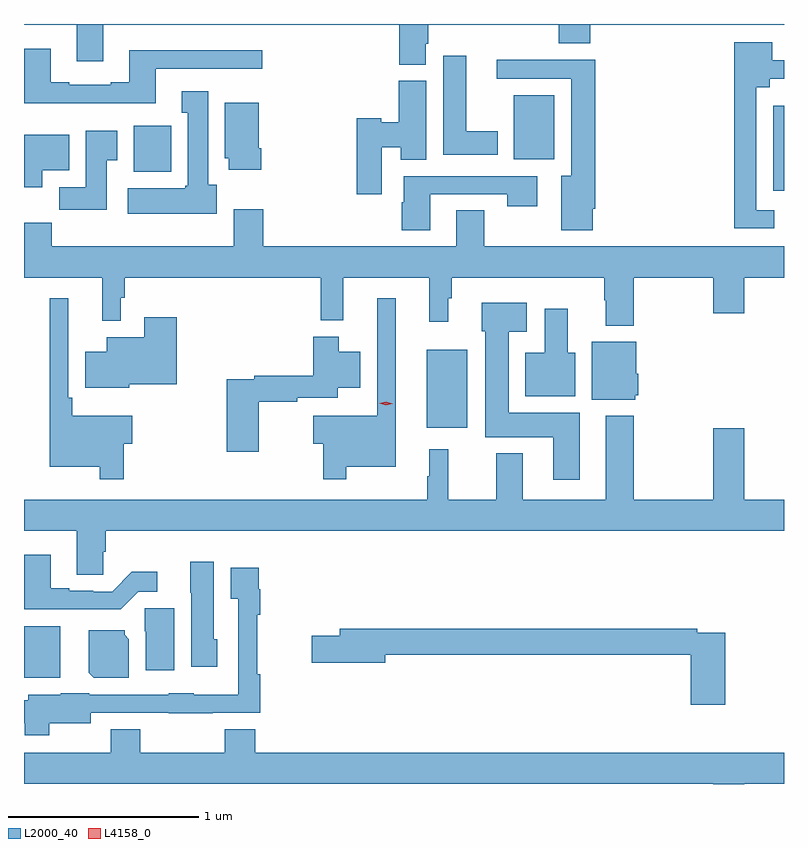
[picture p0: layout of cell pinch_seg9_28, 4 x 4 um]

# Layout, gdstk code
import gdstk
lib = gdstk.Library(unit=1e-6, precision=1e-09)
def R(c, l, rs):  # rectangles x0, y0, x1, y1
    for r in rs: c.add(gdstk.rectangle(r[:2], r[2:], *l))
def P(c, l, *ps):  # polygons
    for p in ps: c.add(gdstk.Polygon(p, *l))
L2000_40 = (2000, 40)
L4158_0 = (4158, 0)

pinch_seg9_28 = lib.new_cell('pinch_seg9_28')
R(pinch_seg9_28, L2000_40, [(928.612,1243.598,928.804,1243.87), (930.731,1244.915,930.946,1245.325), (932.555,1246.161,932.612,1246.609), (929.189,1246.262,929.386,1246.504), (931.19,1246.328,931.402,1246.663)])
P(pinch_seg9_28, L2000_40, [(930.727,1246.935),(930.74,1246.935),(930.74,1247.036),(931.427,1247.036),(931.427,1246.937),(931.592,1246.937),(931.592,1247.036),(932.612,1247.036),(932.612,1247.039),(928.612,1247.039),(928.612,1247.036),(928.889,1247.036),(928.889,1246.842),(929.029,1246.842),(929.029,1247.036),(930.587,1247.036),(930.587,1246.825),(930.727,1246.825)],
  [(932.56,1246.059),(932.466,1246.059),(932.466,1246.706),(932.536,1246.706),(932.536,1246.752),(932.612,1246.752),(932.612,1246.848),(932.551,1246.848),(932.551,1246.942),(932.35,1246.942),(932.35,1245.963),(932.56,1245.963)],
  [(929.305,1246.803),(929.866,1246.803),(929.866,1246.9),(929.165,1246.9),(929.165,1246.732),(929.069,1246.732),(929.069,1246.719),(928.849,1246.719),(928.849,1246.732),(928.753,1246.732),(928.753,1246.909),(928.612,1246.909),(928.612,1246.622),(929.305,1246.622)],
  [(931.105,1246.474),(930.94,1246.474),(930.94,1246.873),(930.818,1246.873),(930.818,1246.352),(931.105,1246.352)],
  [(931.606,1246.066),(931.619,1246.066),(931.619,1246.85),(931.101,1246.85),(931.101,1246.752),(931.493,1246.752),(931.493,1246.24),(931.439,1246.24),(931.439,1245.954),(931.606,1245.954)],
  [(930.496,1246.391),(930.596,1246.391),(930.596,1246.324),(930.73,1246.324),(930.73,1246.74),(930.584,1246.74),(930.584,1246.521),(930.492,1246.521),(930.492,1246.544),(930.362,1246.544),(930.362,1246.143),(930.496,1246.143)],
  [(929.626,1246.194),(929.581,1246.194),(929.581,1246.684),(929.441,1246.684),(929.441,1246.571),(929.474,1246.571),(929.474,1246.188),(929.461,1246.188),(929.461,1246.174),(929.157,1246.174),(929.157,1246.04),(929.626,1246.04)],
  [(929.861,1246.384),(929.848,1246.384),(929.848,1246.624),(929.669,1246.624),(929.669,1246.332),(929.69,1246.332),(929.69,1246.272),(929.861,1246.272)],
  [(929.047,1246.321),(929.104,1246.321),(929.104,1246.477),(928.937,1246.477),(928.937,1246.18),(928.798,1246.18),(928.798,1246.062),(929.047,1246.062)],
  [(928.708,1246.268),(928.849,1246.268),(928.849,1246.456),(928.612,1246.456),(928.612,1246.181),(928.708,1246.181)],
  [(930.751,1246.143),(931.156,1246.143),(931.156,1246.08),(931.312,1246.08),(931.312,1246.239),(930.611,1246.239),(930.611,1246.101),(930.599,1246.101),(930.599,1245.954),(930.751,1245.954)],
  [(931.821,1245.704),(932.24,1245.704),(932.24,1245.516),(932.404,1245.516),(932.404,1245.704),(932.612,1245.704),(932.612,1245.868),(931.035,1245.868),(931.035,1246.058),(930.887,1246.058),(930.887,1245.868),(929.87,1245.868),(929.87,1246.063),(929.717,1246.063),(929.717,1245.868),(928.757,1245.868),(928.757,1245.992),(928.612,1245.992),(928.612,1245.704),(929.024,1245.704),(929.024,1245.476),(929.121,1245.476),(929.121,1245.597),(929.141,1245.597),(929.141,1245.704),(930.175,1245.704),(930.175,1245.479),(930.293,1245.479),(930.293,1245.704),(930.746,1245.704),(930.746,1245.471),(930.844,1245.471),(930.844,1245.596),(930.863,1245.596),(930.863,1245.704),(931.666,1245.704),(931.666,1245.584),(931.673,1245.584),(931.673,1245.452),(931.821,1245.452)],
  [(929.138,1244.83),(929.182,1244.83),(929.182,1244.977),(928.865,1244.977),(928.865,1245.073),(928.845,1245.073),(928.845,1245.595),(928.748,1245.595),(928.748,1244.708),(929.01,1244.708),(929.01,1244.643),(929.138,1244.643)],
  [(930.307,1244.708),(930.568,1244.708),(930.568,1245.595),(930.471,1245.595),(930.471,1244.977),(930.134,1244.977),(930.134,1244.83),(930.186,1244.83),(930.186,1244.643),(930.307,1244.643)],
  [(931.537,1244.992),(931.162,1244.992),(931.162,1245.419),(931.258,1245.419),(931.258,1245.571),(931.022,1245.571),(931.022,1245.423),(931.04,1245.423),(931.04,1244.864),(931.397,1244.864),(931.397,1244.64),(931.537,1244.64)],
  [(931.513,1245.31),(931.474,1245.31),(931.474,1245.541),(931.352,1245.541),(931.352,1245.31),(931.25,1245.31),(931.25,1245.08),(931.513,1245.08)],
  [(929.166,1245.143),(929.417,1245.143),(929.417,1245.496),(929.246,1245.496),(929.246,1245.391),(929.048,1245.391),(929.048,1245.313),(928.934,1245.313),(928.934,1245.125),(929.166,1245.125)],
  [(929.848,1245.052),(930.05,1245.052),(930.05,1245.072),(930.262,1245.072),(930.262,1245.125),(930.382,1245.125),(930.382,1245.313),(930.268,1245.313),(930.268,1245.394),(930.134,1245.394),(930.134,1245.188),(929.824,1245.188),(929.824,1245.168),(929.678,1245.168),(929.678,1244.787),(929.848,1244.787)],
  [(931.83,1245.084),(931.846,1245.084),(931.846,1245.198),(931.834,1245.198),(931.834,1245.367),(931.601,1245.367),(931.601,1245.062),(931.83,1245.062)],
  [(932.612,1244.536),(932.404,1244.536),(932.404,1244.911),(932.24,1244.911),(932.24,1244.536),(931.821,1244.536),(931.821,1244.977),(931.673,1244.977),(931.673,1244.536),(931.237,1244.536),(931.237,1244.779),(931.097,1244.779),(931.097,1244.536),(930.846,1244.536),(930.846,1244.8),(930.746,1244.8),(930.746,1244.66),(930.735,1244.66),(930.735,1244.536),(928.612,1244.536),(928.612,1244.372),(928.889,1244.372),(928.889,1244.14),(929.028,1244.14),(929.028,1244.262),(929.042,1244.262),(929.042,1244.372),(932.612,1244.372)],
  [(929.214,1244.052),(929.314,1244.052),(929.314,1244.155),(929.179,1244.155),(929.076,1244.052),(928.976,1244.052),(928.976,1244.055),(928.849,1244.055),(928.849,1244.068),(928.753,1244.068),(928.753,1244.245),(928.612,1244.245),(928.612,1243.958),(929.12,1243.958)],
  [(929.629,1243.8),(929.611,1243.8),(929.611,1244.209),(929.486,1244.209),(929.486,1244.046),(929.492,1244.046),(929.492,1243.656),(929.629,1243.656)],
  [(928.744,1243.358),(928.963,1243.358),(928.963,1243.413),(929.373,1243.413),(929.373,1243.412),(929.605,1243.412),(929.605,1243.413),(929.855,1243.413),(929.855,1243.616),(929.84,1243.616),(929.84,1243.931),(929.855,1243.931),(929.855,1244.063),(929.848,1244.063),(929.848,1244.176),(929.699,1244.176),(929.699,1244.015),(929.739,1244.015),(929.739,1243.51),(929.505,1243.51),(929.505,1243.516),(929.373,1243.516),(929.373,1243.509),(928.956,1243.509),(928.956,1243.516),(928.806,1243.516),(928.806,1243.51),(928.634,1243.51),(928.634,1243.48),(928.612,1243.48),(928.612,1243.358),(928.615,1243.358),(928.615,1243.295),(928.744,1243.295)],
  [(929.404,1243.965),(929.248,1243.965),(929.248,1243.842),(929.252,1243.842),(929.252,1243.638),(929.404,1243.638)],
  [(932.303,1243.836),(932.156,1243.836),(932.156,1243.856),(930.275,1243.856),(930.275,1243.82),(930.126,1243.82),(930.126,1243.678),(930.514,1243.678),(930.514,1243.72),(932.12,1243.72),(932.12,1243.455),(932.303,1243.455)],
  [(929.164,1243.802),(929.142,1243.824),(929.142,1243.849),(928.952,1243.849),(928.952,1243.624),(928.978,1243.598),(929.164,1243.598)],
  [(932.404,1243.04),(932.612,1243.04),(932.612,1243.204),(929.828,1243.204),(929.828,1243.328),(929.668,1243.328),(929.668,1243.204),(929.223,1243.204),(929.223,1243.328),(929.068,1243.328),(929.068,1243.204),(928.612,1243.204),(928.612,1243.04),(932.24,1243.04),(932.24,1243.039),(932.404,1243.039)])
P(pinch_seg9_28, L4158_0, [(930.517,1245.032),(930.482,1245.043),(930.482,1245.043),(930.482,1245.044),(930.518,1245.052),(930.552,1245.04),(930.553,1245.04),(930.552,1245.04)])

lib.write_gds('pinch_seg9_28.gds')
